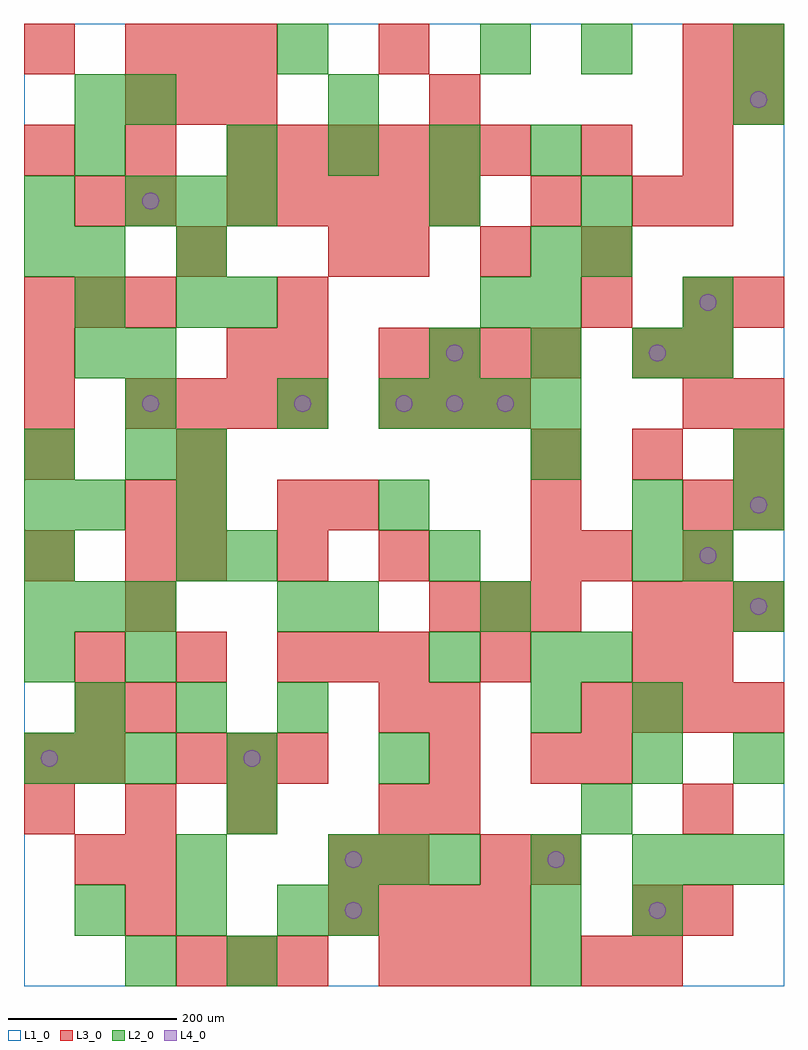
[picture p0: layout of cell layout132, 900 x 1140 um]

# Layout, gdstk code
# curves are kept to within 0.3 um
import gdstk
lib = gdstk.Library(unit=1e-6, precision=1e-09)
def R(c, l, rs):  # rectangles x0, y0, x1, y1
    for r in rs: c.add(gdstk.rectangle(r[:2], r[2:], *l))
def A(c, l, x, y, w, h, nx, ny, dx, dy):  # array of equal rectangles
    R(c, l, [(x+i*dx, y+j*dy, x+i*dx+w, y+j*dy+h) for i in range(nx) for j in range(ny)])
def P(c, l, *ps):  # polygons
    for p in ps: c.add(gdstk.Polygon(p, *l))
L1_0 = (1, 0)
L2_0 = (2, 0)
L3_0 = (3, 0)
L4_0 = (4, 0)

layout132 = lib.new_cell('layout132')
R(layout132, L1_0, [(0,0,900,1140)])
A(layout132, L2_0, 600, 0, 60, 60, 1, 3, 0, 60)
A(layout132, L2_0, 60, 60, 60, 60, 3, 2, 120, 240)
A(layout132, L2_0, 360, 120, 60, 60, 3, 1, 60, 0)
A(layout132, L2_0, 720, 120, 60, 60, 3, 1, 60, 0)
A(layout132, L2_0, 0, 240, 60, 60, 3, 2, 60, 180)
A(layout132, L2_0, 0, 480, 60, 60, 1, 3, 0, 60)
A(layout132, L2_0, 180, 480, 60, 60, 1, 3, 0, 60)
A(layout132, L2_0, 240, 480, 60, 60, 3, 1, 240, 0)
A(layout132, L2_0, 120, 600, 60, 60, 1, 3, 0, 60)
A(layout132, L2_0, 420, 660, 60, 60, 4, 1, 60, 0)
A(layout132, L2_0, 60, 720, 60, 60, 1, 3, 0, 60)
A(layout132, L2_0, 480, 720, 60, 60, 3, 1, 120, 0)
A(layout132, L2_0, 120, 900, 60, 60, 3, 1, 60, 0)
A(layout132, L2_0, 240, 960, 60, 60, 4, 1, 120, 0)
R(layout132, L2_0, [(120,0,180,60), (240,0,300,60), (360,60,420,120), (720,60,780,120), (180,120,240,180), (240,180,300,240), (660,180,720,240), (240,240,300,300), (420,240,480,300), (720,240,780,300), (840,240,900,300), (600,300,660,360), (720,300,780,360), (0,360,60,420), (120,360,180,420), (480,360,540,420), (600,360,660,420), (660,360,720,420), (300,420,360,480), (360,420,420,480), (540,420,600,480), (840,420,900,480), (780,480,840,540), (60,540,120,600), (420,540,480,600), (720,540,780,600), (840,540,900,600), (600,600,660,660), (840,600,900,660), (300,660,360,720), (780,720,840,780), (180,780,240,840), (240,780,300,840), (540,780,600,840), (600,780,660,840), (780,780,840,840), (0,840,60,900), (180,840,240,900), (600,840,660,900), (660,840,720,900), (0,900,60,960), (480,900,540,960), (660,900,720,960), (60,960,120,1020), (60,1020,120,1080), (120,1020,180,1080), (360,1020,420,1080), (840,1020,900,1080), (300,1080,360,1140), (540,1080,600,1140), (660,1080,720,1140), (840,1080,900,1140)])
A(layout132, L3_0, 180, 0, 60, 60, 3, 2, 60, 240)
A(layout132, L3_0, 420, 0, 60, 60, 3, 2, 60, 660)
A(layout132, L3_0, 660, 0, 60, 60, 1, 3, 0, 240)
A(layout132, L3_0, 360, 60, 60, 60, 4, 1, 60, 0)
A(layout132, L3_0, 0, 180, 60, 60, 3, 2, 120, 780)
A(layout132, L3_0, 480, 180, 60, 60, 1, 3, 0, 60)
A(layout132, L3_0, 660, 300, 60, 60, 4, 1, 60, 0)
A(layout132, L3_0, 60, 360, 60, 60, 3, 1, 120, 0)
A(layout132, L3_0, 120, 420, 60, 60, 1, 3, 0, 60)
A(layout132, L3_0, 480, 420, 60, 60, 3, 1, 60, 0)
A(layout132, L3_0, 720, 420, 60, 60, 3, 1, 60, 0)
A(layout132, L3_0, 180, 480, 60, 60, 3, 1, 120, 0)
A(layout132, L3_0, 840, 540, 60, 60, 1, 3, 0, 120)
A(layout132, L3_0, 0, 600, 60, 60, 1, 3, 0, 60)
A(layout132, L3_0, 600, 600, 60, 60, 3, 1, 120, 0)
A(layout132, L3_0, 120, 660, 60, 60, 4, 1, 60, 0)
A(layout132, L3_0, 780, 660, 60, 60, 1, 3, 0, 60)
A(layout132, L3_0, 420, 720, 60, 60, 4, 1, 60, 0)
A(layout132, L3_0, 0, 780, 60, 60, 3, 1, 60, 0)
A(layout132, L3_0, 420, 840, 60, 60, 3, 1, 120, 0)
A(layout132, L3_0, 240, 900, 60, 60, 5, 1, 60, 0)
A(layout132, L3_0, 780, 900, 60, 60, 1, 4, 0, 60)
A(layout132, L3_0, 300, 960, 60, 60, 5, 1, 60, 0)
A(layout132, L3_0, 120, 1020, 60, 60, 3, 2, 60, 60)
R(layout132, L3_0, [(720,0,780,60), (120,60,180,120), (720,60,780,120), (780,60,840,120), (60,120,120,180), (120,120,180,180), (360,120,420,180), (420,120,480,180), (540,120,600,180), (600,120,660,180), (420,180,480,240), (780,180,840,240), (0,240,60,300), (60,240,120,300), (600,240,660,300), (60,300,120,360), (120,300,180,360), (420,300,480,360), (360,360,420,420), (420,360,480,420), (540,360,600,420), (720,360,780,420), (780,360,840,420), (0,480,60,540), (600,480,660,540), (780,480,840,540), (180,540,240,600), (300,540,360,600), (360,540,420,600), (600,540,660,600), (780,540,840,600), (180,600,240,660), (240,720,300,780), (300,720,360,780), (720,720,780,780), (300,780,360,840), (660,780,720,840), (180,840,240,900), (360,840,420,900), (60,900,120,960), (120,900,180,960), (600,900,660,960), (720,900,780,960), (660,960,720,1020), (480,1020,540,1080), (840,1020,900,1080), (0,1080,60,1140), (420,1080,480,1140), (840,1080,900,1140)])
P(layout132, L4_0, [(40,270),(39.239,273.827),(37.071,277.071),(33.827,279.239),(30,280),(26.173,279.239),(22.929,277.071),(20.761,273.827),(20,270),(20.761,266.173),(22.929,262.929),(26.173,260.761),(30,260),(33.827,260.761),(37.071,262.929),(39.239,266.173)],
  [(160,690),(159.239,693.827),(157.071,697.071),(153.827,699.239),(150,700),(146.173,699.239),(142.929,697.071),(140.761,693.827),(140,690),(140.761,686.173),(142.929,682.929),(146.173,680.761),(150,680),(153.827,680.761),(157.071,682.929),(159.239,686.173)],
  [(160,930),(159.239,933.827),(157.071,937.071),(153.827,939.239),(150,940),(146.173,939.239),(142.929,937.071),(140.761,933.827),(140,930),(140.761,926.173),(142.929,922.929),(146.173,920.761),(150,920),(153.827,920.761),(157.071,922.929),(159.239,926.173)],
  [(280,270),(279.239,273.827),(277.071,277.071),(273.827,279.239),(270,280),(266.173,279.239),(262.929,277.071),(260.761,273.827),(260,270),(260.761,266.173),(262.929,262.929),(266.173,260.761),(270,260),(273.827,260.761),(277.071,262.929),(279.239,266.173)],
  [(340,690),(339.239,693.827),(337.071,697.071),(333.827,699.239),(330,700),(326.173,699.239),(322.929,697.071),(320.761,693.827),(320,690),(320.761,686.173),(322.929,682.929),(326.173,680.761),(330,680),(333.827,680.761),(337.071,682.929),(339.239,686.173)],
  [(400,90),(399.239,93.827),(397.071,97.071),(393.827,99.239),(390,100),(386.173,99.239),(382.929,97.071),(380.761,93.827),(380,90),(380.761,86.173),(382.929,82.929),(386.173,80.761),(390,80),(393.827,80.761),(397.071,82.929),(399.239,86.173)],
  [(400,150),(399.239,153.827),(397.071,157.071),(393.827,159.239),(390,160),(386.173,159.239),(382.929,157.071),(380.761,153.827),(380,150),(380.761,146.173),(382.929,142.929),(386.173,140.761),(390,140),(393.827,140.761),(397.071,142.929),(399.239,146.173)],
  [(460,690),(459.239,693.827),(457.071,697.071),(453.827,699.239),(450,700),(446.173,699.239),(442.929,697.071),(440.761,693.827),(440,690),(440.761,686.173),(442.929,682.929),(446.173,680.761),(450,680),(453.827,680.761),(457.071,682.929),(459.239,686.173)],
  [(520,690),(519.239,693.827),(517.071,697.071),(513.827,699.239),(510,700),(506.173,699.239),(502.929,697.071),(500.761,693.827),(500,690),(500.761,686.173),(502.929,682.929),(506.173,680.761),(510,680),(513.827,680.761),(517.071,682.929),(519.239,686.173)],
  [(520,750),(519.239,753.827),(517.071,757.071),(513.827,759.239),(510,760),(506.173,759.239),(502.929,757.071),(500.761,753.827),(500,750),(500.761,746.173),(502.929,742.929),(506.173,740.761),(510,740),(513.827,740.761),(517.071,742.929),(519.239,746.173)],
  [(580,690),(579.239,693.827),(577.071,697.071),(573.827,699.239),(570,700),(566.173,699.239),(562.929,697.071),(560.761,693.827),(560,690),(560.761,686.173),(562.929,682.929),(566.173,680.761),(570,680),(573.827,680.761),(577.071,682.929),(579.239,686.173)],
  [(640,150),(639.239,153.827),(637.071,157.071),(633.827,159.239),(630,160),(626.173,159.239),(622.929,157.071),(620.761,153.827),(620,150),(620.761,146.173),(622.929,142.929),(626.173,140.761),(630,140),(633.827,140.761),(637.071,142.929),(639.239,146.173)],
  [(760,90),(759.239,93.827),(757.071,97.071),(753.827,99.239),(750,100),(746.173,99.239),(742.929,97.071),(740.761,93.827),(740,90),(740.761,86.173),(742.929,82.929),(746.173,80.761),(750,80),(753.827,80.761),(757.071,82.929),(759.239,86.173)],
  [(760,750),(759.239,753.827),(757.071,757.071),(753.827,759.239),(750,760),(746.173,759.239),(742.929,757.071),(740.761,753.827),(740,750),(740.761,746.173),(742.929,742.929),(746.173,740.761),(750,740),(753.827,740.761),(757.071,742.929),(759.239,746.173)],
  [(820,510),(819.239,513.827),(817.071,517.071),(813.827,519.239),(810,520),(806.173,519.239),(802.929,517.071),(800.761,513.827),(800,510),(800.761,506.173),(802.929,502.929),(806.173,500.761),(810,500),(813.827,500.761),(817.071,502.929),(819.239,506.173)],
  [(820,810),(819.239,813.827),(817.071,817.071),(813.827,819.239),(810,820),(806.173,819.239),(802.929,817.071),(800.761,813.827),(800,810),(800.761,806.173),(802.929,802.929),(806.173,800.761),(810,800),(813.827,800.761),(817.071,802.929),(819.239,806.173)],
  [(880,450),(879.239,453.827),(877.071,457.071),(873.827,459.239),(870,460),(866.173,459.239),(862.929,457.071),(860.761,453.827),(860,450),(860.761,446.173),(862.929,442.929),(866.173,440.761),(870,440),(873.827,440.761),(877.071,442.929),(879.239,446.173)],
  [(880,570),(879.239,573.827),(877.071,577.071),(873.827,579.239),(870,580),(866.173,579.239),(862.929,577.071),(860.761,573.827),(860,570),(860.761,566.173),(862.929,562.929),(866.173,560.761),(870,560),(873.827,560.761),(877.071,562.929),(879.239,566.173)],
  [(880,1050),(879.239,1053.827),(877.071,1057.071),(873.827,1059.239),(870,1060),(866.173,1059.239),(862.929,1057.071),(860.761,1053.827),(860,1050),(860.761,1046.173),(862.929,1042.929),(866.173,1040.761),(870,1040),(873.827,1040.761),(877.071,1042.929),(879.239,1046.173)])

lib.write_gds('layout132.gds')
